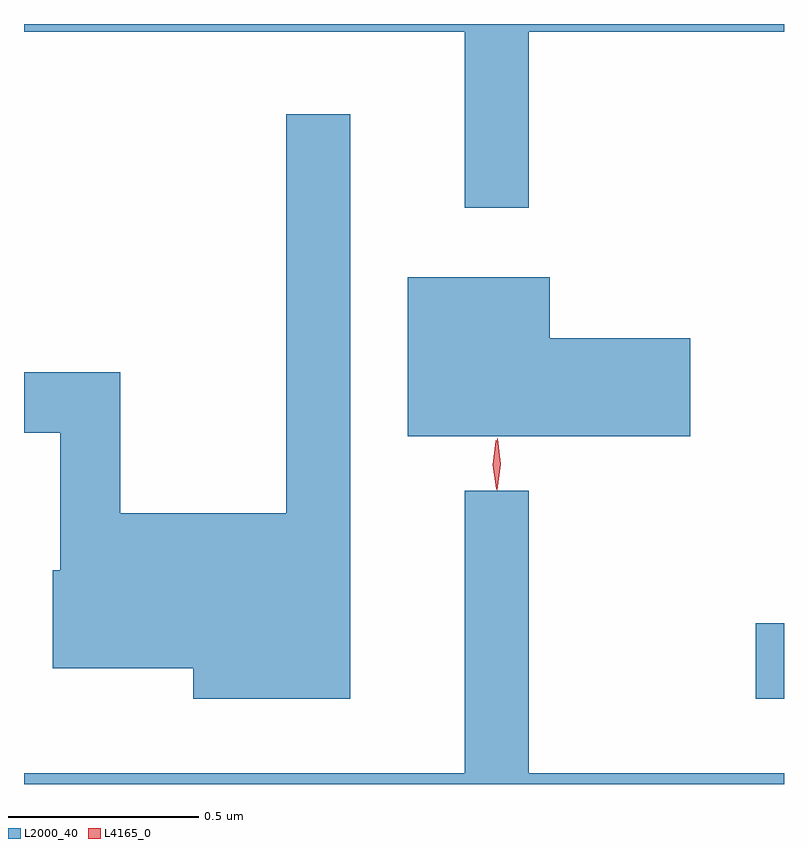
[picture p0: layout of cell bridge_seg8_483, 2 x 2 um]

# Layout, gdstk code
import gdstk
lib = gdstk.Library(unit=1e-6, precision=1e-09)
def R(c, l, rs):  # rectangles x0, y0, x1, y1
    for r in rs: c.add(gdstk.rectangle(r[:2], r[2:], *l))
def P(c, l, *ps):  # polygons
    for p in ps: c.add(gdstk.Polygon(p, *l))
L2000_40 = (2000, 40)
L4165_0 = (4165, 0)

bridge_seg8_483 = lib.new_cell('bridge_seg8_483')
R(bridge_seg8_483, L2000_40, [(597.136,1883.501,597.211,1883.699)])
P(bridge_seg8_483, L2000_40, [(596.539,1885.256),(597.211,1885.256),(597.211,1885.276),(595.211,1885.276),(595.211,1885.256),(596.371,1885.256),(596.371,1884.793),(596.539,1884.793)],
  [(596.069,1885.038),(595.901,1885.038),(595.901,1883.989),(595.464,1883.989),(595.464,1884.359),(595.211,1884.359),(595.211,1884.201),(595.306,1884.201),(595.306,1883.839),(595.286,1883.839),(595.286,1883.581),(595.656,1883.581),(595.656,1883.501),(596.069,1883.501)],
  [(596.964,1884.449),(596.594,1884.449),(596.594,1884.609),(596.221,1884.609),(596.221,1884.191),(596.964,1884.191)],
  [(597.211,1883.304),(596.539,1883.304),(596.539,1884.048),(596.371,1884.048),(596.371,1883.304),(595.211,1883.304),(595.211,1883.276),(597.211,1883.276)])
P(bridge_seg8_483, L4165_0, [(596.456,1884.049),(596.455,1884.05),(596.447,1884.118),(596.457,1884.185),(596.457,1884.186),(596.458,1884.185),(596.466,1884.117),(596.456,1884.05)],
  [(596.454,1884.053),(596.454,1884.053),(596.444,1884.116),(596.453,1884.179),(596.453,1884.18),(596.454,1884.179),(596.464,1884.116),(596.455,1884.053)])

lib.write_gds('bridge_seg8_483.gds')
